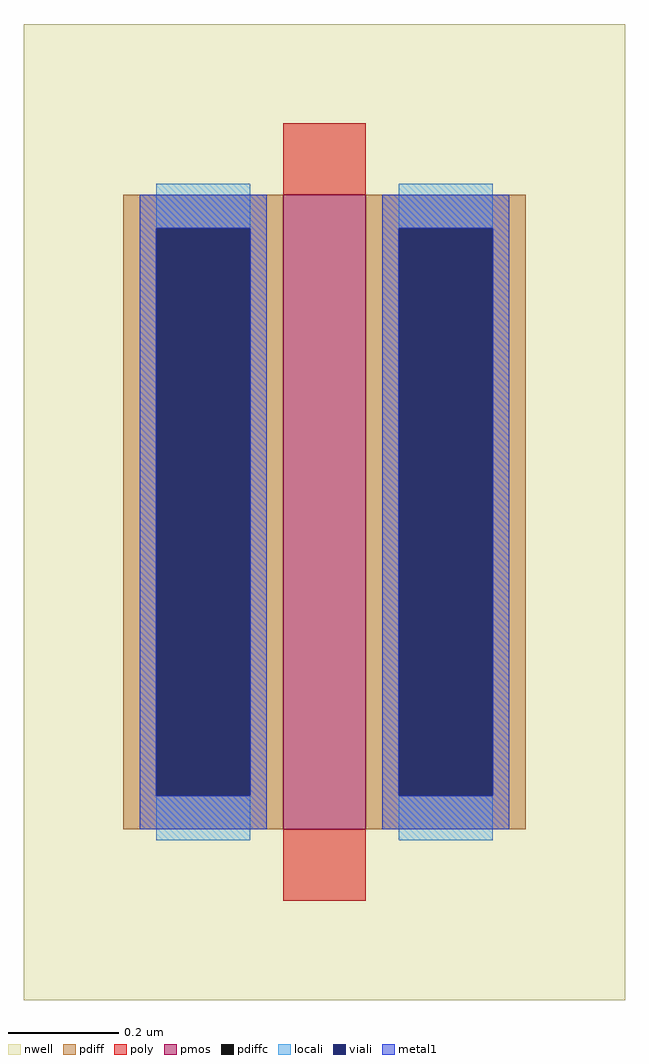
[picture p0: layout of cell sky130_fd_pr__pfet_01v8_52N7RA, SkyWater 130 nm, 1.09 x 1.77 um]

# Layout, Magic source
magic
tech sky130A
magscale 1 2
<< nwell >>
rect -109 -177 109 177
<< pmos >>
rect -15 -115 15 115
<< pdiff >>
rect -73 103 -15 115
rect -73 -103 -61 103
rect -27 -103 -15 103
rect -73 -115 -15 -103
rect 15 103 73 115
rect 15 -103 27 103
rect 61 -103 73 103
rect 15 -115 73 -103
<< pdiffc >>
rect -61 -103 -27 103
rect 27 -103 61 103
<< poly >>
rect -15 115 15 141
rect -15 -141 15 -115
<< locali >>
rect -61 103 -27 119
rect -61 -119 -27 -103
rect 27 103 61 119
rect 27 -119 61 -103
<< viali >>
rect -61 -103 -27 103
rect 27 -103 61 103
<< metal1 >>
rect -67 103 -21 115
rect -67 -103 -61 103
rect -27 -103 -21 103
rect -67 -115 -21 -103
rect 21 103 67 115
rect 21 -103 27 103
rect 61 -103 67 103
rect 21 -115 67 -103
<< properties >>
string gencell sky130_fd_pr__pfet_01v8
string library sky130
string parameters w 1.15 l 0.15 m 1 nf 1 diffcov 100 polycov 100 guard 0 glc 0 grc 0 gtc 0 gbc 0 tbcov 100 rlcov 100 topc 0 botc 0 poverlap 0 doverlap 1 lmin 0.15 wmin 0.42 compatible {sky130_fd_pr__pfet_01v8  sky130_fd_pr__pfet_01v8_lvt sky130_fd_pr__pfet_01v8_hvt  sky130_fd_pr__pfet_g5v0d10v5} full_metal 0 viasrc 100 viadrn 100 viagate 100 viagb 0 viagr 0 viagl 0 viagt 0
<< end >>
